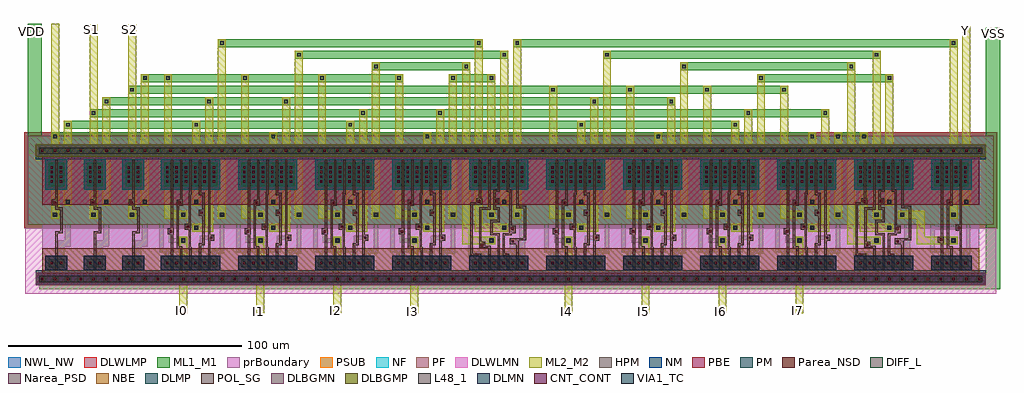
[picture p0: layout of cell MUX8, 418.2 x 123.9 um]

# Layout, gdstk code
import gdstk
lib = gdstk.Library(unit=1e-6, precision=1e-07)
def R(c, l, rs):  # rectangles x0, y0, x1, y1
    for r in rs: c.add(gdstk.rectangle(r[:2], r[2:], *l))
def A(c, l, x, y, w, h, nx, ny, dx, dy):  # array of equal rectangles
    R(c, l, [(x+i*dx, y+j*dy, x+i*dx+w, y+j*dy+h) for i in range(nx) for j in range(ny)])
def P(c, l, *ps):  # polygons
    for p in ps: c.add(gdstk.Polygon(p, *l))
DIFF_L = (3, 0)
NM = (7, 0)
POL_SG = (8, 0)
Narea_PSD = (9, 0)
CNT_CONT = (11, 0)
ML1_M1 = (13, 0)
VIA1_TC = (19, 0)
ML2_M2 = (20, 0)
NF = (25, 0)
PF = (26, 0)
Parea_NSD = (28, 0)
HPM = (33, 0)
PM = (35, 0)
NWL_NW = (36, 0)
L48_1 = (48, 1)
PSUB = (140, 0)
PBE = (146, 0)
NBE = (147, 0)
DLWLMP = (150, 0)
DLWLMN = (151, 0)
DLMP = (157, 0)
DLMN = (158, 0)
DLBGMP = (177, 0)
DLBGMN = (178, 0)
prBoundary = (235, 0)

inv_x1 = lib.new_cell('INV_X1')
A(inv_x1, DIFF_L, -1.3, -1.3, 2.6, 2.6, 4, 2, 5.5, 55)
R(inv_x1, DIFF_L, [(2.8,5.1,9.4,8.5), (2.8,39.7,9.4,49.9)])
R(inv_x1, NM, [(-2.8,-2.7,19.3,2.7)])
P(inv_x1, NM, [(1.4,38.3),(1.4,51.3),(-2.8,51.3),(-2.8,57.7),(19.3,57.7),(19.3,51.3),(10.8,51.3),(10.8,38.3)])
P(inv_x1, POL_SG, [(5.6,3.9),(5.6,20.5),(7.7,20.5),(7.7,29.7),(5.6,29.7),(5.6,31.6),(4,31.6),(4,34.2),(5.6,34.2),(5.6,51.1),(6.6,51.1),(6.6,30.7),(8.7,30.7),(8.7,19.5),(6.6,19.5),(6.6,3.9)])
R(inv_x1, Narea_PSD, [(1.4,3.7,10.8,9.9), (-2.8,52.3,19.3,57.7)])
A(inv_x1, CNT_CONT, -0.5, -0.5, 1, 1, 4, 2, 5.5, 55)
A(inv_x1, CNT_CONT, 3.6, 41.3, 1, 1, 1, 4, 0, 2)
A(inv_x1, CNT_CONT, 7.6, 41.3, 1, 1, 1, 4, 0, 2)
R(inv_x1, CNT_CONT, [(3.6,6.3,4.6,7.3), (7.6,6.3,8.6,7.3), (4.8,32.4,5.8,33.4)])
P(inv_x1, ML1_M1, [(-1.3,-1.3),(-1.3,1.3),(2.8,1.3),(2.8,8.5),(5.4,8.5),(5.4,1.3),(17.8,1.3),(17.8,-1.3)],
  [(3.8,25.8),(3.8,29.2),(4,29.2),(4,34.2),(6.6,34.2),(6.6,29.2),(7.2,29.2),(7.2,25.8)],
  [(6.8,5.1),(6.8,16.5),(9.7,16.5),(9.7,31.3),(9.3,31.3),(9.3,35.6),(6.8,35.6),(6.8,49.9),(9.4,49.9),(9.4,38.2),(12.3,38.2),(12.3,34.7),(12.7,34.7),(12.7,31.3),(12.3,31.3),(12.3,13.9),(9.4,13.9),(9.4,5.1)],
  [(2.8,39.7),(2.8,53.7),(-1.3,53.7),(-1.3,56.3),(17.8,56.3),(17.8,53.7),(5.4,53.7),(5.4,39.7)])
R(inv_x1, NF, [(-6.3,23.2,22.8,61.3)])
R(inv_x1, PF, [(-6.3,23.2,22.8,61.3)])
R(inv_x1, Parea_NSD, [(-2.8,-2.7,19.3,2.7), (1.4,38.3,10.8,51.3)])
P(inv_x1, HPM, [(-2.8,-2.7),(-2.8,3.7),(1.4,3.7),(1.4,9.9),(10.8,9.9),(10.8,3.7),(19.3,3.7),(19.3,-2.7)],
  [(1.4,38.3),(1.4,51.3),(-2.8,51.3),(-2.8,57.7),(19.3,57.7),(19.3,51.3),(10.8,51.3),(10.8,38.3)])
R(inv_x1, PM, [(-2.8,52.3,19.3,57.7)])
P(inv_x1, PM, [(-2.8,-2.7),(-2.8,3.7),(1.4,3.7),(1.4,9.9),(10.8,9.9),(10.8,3.7),(19.3,3.7),(19.3,-2.7)])
R(inv_x1, NWL_NW, [(-7.8,21.7,24.3,62.8)])
R(inv_x1, L48_1, [(-1.3,-1.3,17.8,1.3), (4.6,26.6,6.4,28.4), (10.1,32.1,11.9,33.9), (-1.3,53.7,17.8,56.3)])
R(inv_x1, PSUB, [(-6.3,23.2,22.8,61.3)])
R(inv_x1, PBE, [(0,31.9,16.5,52.7)])
R(inv_x1, NBE, [(0,2.3,16.5,13.1)])
R(inv_x1, DLWLMP, [(-7.8,21.7,24.3,62.8)])
R(inv_x1, DLWLMN, [(-7.2,-6.3,23.7,21.7)])
R(inv_x1, DLMP, [(1.4,38.3,10.8,51.3)])
R(inv_x1, DLMN, [(1.4,3.7,10.8,9.9)])
R(inv_x1, DLBGMP, [(-2.8,52.3,19.3,57.7)])
R(inv_x1, DLBGMN, [(-2.8,-2.7,19.3,2.7)])
R(inv_x1, prBoundary, [(0,0,16.5,55)])
inv_x1.add(gdstk.Label('A', (5.5,27.5), layer=48, texttype=0))
inv_x1.add(gdstk.Label('vdd', (0,55), layer=48, texttype=0))
inv_x1.add(gdstk.Label('gnd', (0,0), layer=48, texttype=0))
inv_x1.add(gdstk.Label('Y', (11,33), layer=48, texttype=0))

and4_x1 = lib.new_cell('AND4_X1')
A(and4_x1, DIFF_L, -1.3, -1.3, 2.6, 2.6, 7, 2, 5.5, 55)
R(and4_x1, DIFF_L, [(2.8,5.1,25.4,8.5), (2.8,39.7,25.4,49.9)])
R(and4_x1, NM, [(-2.8,-2.7,35.8,2.7)])
P(and4_x1, NM, [(1.4,38.3),(1.4,51.3),(-2.8,51.3),(-2.8,57.7),(35.8,57.7),(35.8,51.3),(26.8,51.3),(26.8,38.3)])
P(and4_x1, POL_SG, [(5.6,3.9),(5.6,19.1),(4.3,19.1),(4.3,21.7),(5.6,21.7),(5.6,51.1),(6.6,51.1),(6.6,21.7),(6.9,21.7),(6.9,19.1),(6.6,19.1),(6.6,3.9)],
  [(9.6,3.9),(9.6,13),(8.1,13),(8.1,33.9),(9.6,33.9),(9.6,51.1),(10.6,51.1),(10.6,33.9),(10.7,33.9),(10.7,31.3),(9.1,31.3),(9.1,14),(10.6,14),(10.6,3.9)],
  [(13.6,3.9),(13.6,12.5),(13.2,12.5),(13.2,21.1),(11.6,21.1),(11.6,23.7),(13.2,23.7),(13.2,37),(13.6,37),(13.6,51.1),(14.6,51.1),(14.6,36),(14.2,36),(14.2,13.5),(14.6,13.5),(14.6,3.9)],
  [(17.6,3.9),(17.6,15.4),(19.1,15.4),(19.1,27.1),(17.5,27.1),(17.5,29.7),(19.1,29.7),(19.1,35.9),(17.6,35.9),(17.6,51.1),(18.6,51.1),(18.6,36.9),(20.1,36.9),(20.1,14.4),(18.6,14.4),(18.6,3.9)],
  [(21.6,3.9),(21.6,51.1),(22.6,51.1),(22.6,19),(24.2,19),(24.2,16.4),(22.6,16.4),(22.6,3.9)])
R(and4_x1, Narea_PSD, [(1.4,3.7,26.8,9.9), (-2.8,52.3,35.8,57.7)])
A(and4_x1, CNT_CONT, -0.5, -0.5, 1, 1, 7, 2, 5.5, 55)
A(and4_x1, CNT_CONT, 3.6, 41.3, 1, 1, 1, 4, 0, 2)
A(and4_x1, CNT_CONT, 23.6, 41.3, 1, 1, 1, 4, 0, 2)
R(and4_x1, CNT_CONT, [(3.6,6.3,4.6,7.3), (7.6,6.3,8.6,7.3), (7.6,6.3,8.6,7.3), (11.6,6.3,12.6,7.3), (11.6,6.3,12.6,7.3), (15.6,6.3,16.6,7.3), (15.6,6.3,16.6,7.3), (19.6,6.3,20.6,7.3), (19.6,6.3,20.6,7.3), (23.6,6.3,24.6,7.3), (22.4,17.2,23.4,18.2), (5.1,19.9,6.1,20.9), (12.4,21.9,13.4,22.9), (18.3,27.9,19.3,28.9), (8.9,32.1,9.9,33.1), (7.6,41.3,8.6,42.3), (7.6,41.3,8.6,42.3), (11.6,41.3,12.6,42.3), (11.6,41.3,12.6,42.3), (15.6,41.3,16.6,42.3), (15.6,41.3,16.6,42.3), (19.6,41.3,20.6,42.3), (19.6,41.3,20.6,42.3), (7.6,43.3,8.6,44.3), (7.6,43.3,8.6,44.3), (11.6,43.3,12.6,44.3), (11.6,43.3,12.6,44.3), (15.6,43.3,16.6,44.3), (15.6,43.3,16.6,44.3), (19.6,43.3,20.6,44.3), (19.6,43.3,20.6,44.3), (7.6,45.3,8.6,46.3), (7.6,45.3,8.6,46.3), (11.6,45.3,12.6,46.3), (11.6,45.3,12.6,46.3), (15.6,45.3,16.6,46.3), (15.6,45.3,16.6,46.3), (19.6,45.3,20.6,46.3), (19.6,45.3,20.6,46.3), (7.6,47.3,8.6,48.3), (7.6,47.3,8.6,48.3), (11.6,47.3,12.6,48.3), (11.6,47.3,12.6,48.3), (15.6,47.3,16.6,48.3), (15.6,47.3,16.6,48.3), (19.6,47.3,20.6,48.3), (19.6,47.3,20.6,48.3)])
A(and4_x1, ML1_M1, 6.8, 5.1, 2.6, 3.4, 3, 1, 4, 0)
P(and4_x1, ML1_M1, [(-1.3,-1.3),(-1.3,1.3),(18.8,1.3),(18.8,8.5),(21.4,8.5),(21.4,1.3),(34.3,1.3),(34.3,-1.3)],
  [(9.3,14.8),(9.3,15.6),(4.8,15.6),(4.8,19.1),(4.3,19.1),(4.3,21.7),(6.9,21.7),(6.9,19.1),(6.6,19.1),(6.6,17.4),(9.3,17.4),(9.3,18.2),(12.7,18.2),(12.7,14.8)],
  [(14.8,20.3),(14.8,21.1),(11.6,21.1),(11.6,23.7),(18.2,23.7),(18.2,20.3)],
  [(9.3,25.8),(9.3,31.3),(8.1,31.3),(8.1,33.9),(11.1,33.9),(11.1,29.2),(12.7,29.2),(12.7,25.8)],
  [(16.4,27.1),(16.4,31.3),(14.8,31.3),(14.8,34.7),(18.2,34.7),(18.2,29.7),(20.1,29.7),(20.1,27.1)],
  [(2.8,5.1),(2.8,8.5),(3.2,8.5),(3.2,11.4),(0.7,11.4),(0.7,38),(7.2,38),(7.2,39.7),(6.8,39.7),(6.8,49.9),(9.4,49.9),(9.4,39.7),(9,39.7),(9,38),(15.2,38),(15.2,39.7),(14.8,39.7),(14.8,49.9),(17.4,49.9),(17.4,39.7),(17,39.7),(17,36.2),(2.5,36.2),(2.5,13.2),(17.9,13.2),(17.9,18.6),(21.6,18.6),(21.6,19),(24.2,19),(24.2,16.4),(21.6,16.4),(21.6,16.8),(19.7,16.8),(19.7,11.4),(5,11.4),(5,8.5),(5.4,8.5),(5.4,5.1)],
  [(22.8,5.1),(22.8,8.5),(23.2,8.5),(23.2,12.6),(26.6,12.6),(26.6,25.8),(25.8,25.8),(25.8,29.2),(26.6,29.2),(26.6,36.2),(23.2,36.2),(23.2,39.7),(22.8,39.7),(22.8,49.9),(25.4,49.9),(25.4,39.7),(25,39.7),(25,38),(28.4,38),(28.4,29.2),(29.2,29.2),(29.2,25.8),(28.4,25.8),(28.4,10.8),(25,10.8),(25,8.5),(25.4,8.5),(25.4,5.1)],
  [(2.8,39.7),(2.8,53.7),(-1.3,53.7),(-1.3,56.3),(34.3,56.3),(34.3,53.7),(21.4,53.7),(21.4,39.7),(18.8,39.7),(18.8,53.7),(13.4,53.7),(13.4,39.7),(10.8,39.7),(10.8,53.7),(5.4,53.7),(5.4,39.7)])
R(and4_x1, NF, [(-6.3,23.2,39.3,61.3)])
R(and4_x1, PF, [(-6.3,23.2,39.3,61.3)])
R(and4_x1, Parea_NSD, [(-2.8,-2.7,35.8,2.7), (1.4,38.3,26.8,51.3)])
P(and4_x1, HPM, [(-2.8,-2.7),(-2.8,3.7),(1.4,3.7),(1.4,9.9),(26.8,9.9),(26.8,3.7),(35.8,3.7),(35.8,-2.7)],
  [(1.4,38.3),(1.4,51.3),(-2.8,51.3),(-2.8,57.7),(35.8,57.7),(35.8,51.3),(26.8,51.3),(26.8,38.3)])
R(and4_x1, PM, [(-2.8,52.3,35.8,57.7)])
P(and4_x1, PM, [(-2.8,-2.7),(-2.8,3.7),(1.4,3.7),(1.4,9.9),(26.8,9.9),(26.8,3.7),(35.8,3.7),(35.8,-2.7)])
R(and4_x1, NWL_NW, [(-7.8,21.7,40.8,62.8)])
R(and4_x1, L48_1, [(-1.3,-1.3,34.3,1.3), (10.1,15.6,11.9,17.4), (15.6,21.1,17.4,22.9), (10.1,26.6,11.9,28.4), (26.6,26.6,28.4,28.4), (15.6,32.1,17.4,33.9), (-1.3,53.7,34.3,56.3)])
R(and4_x1, PSUB, [(-6.3,23.2,39.3,61.3)])
R(and4_x1, PBE, [(0,31.9,33,52.7)])
R(and4_x1, NBE, [(0,2.3,33,13.1)])
R(and4_x1, DLWLMP, [(-7.8,21.7,40.8,62.8)])
R(and4_x1, DLWLMN, [(-7.2,-6.3,40.2,21.7)])
R(and4_x1, DLMP, [(1.4,38.3,26.8,51.3)])
R(and4_x1, DLMN, [(1.4,3.7,26.8,9.9)])
R(and4_x1, DLBGMP, [(-2.8,52.3,35.8,57.7)])
R(and4_x1, DLBGMN, [(-2.8,-2.7,35.8,2.7)])
R(and4_x1, prBoundary, [(0,0,33,55)])
and4_x1.add(gdstk.Label('vdd', (0,55), layer=48, texttype=0))
and4_x1.add(gdstk.Label('gnd', (0,0), layer=48, texttype=0))
and4_x1.add(gdstk.Label('Y', (27.5,27.5), layer=48, texttype=0))
and4_x1.add(gdstk.Label('A', (11,16.5), layer=48, texttype=0))
and4_x1.add(gdstk.Label('B', (11,27.5), layer=48, texttype=0))
and4_x1.add(gdstk.Label('C', (16.5,22), layer=48, texttype=0))
and4_x1.add(gdstk.Label('D', (16.5,33), layer=48, texttype=0))

or4 = lib.new_cell('OR4')
A(or4, DIFF_L, -1.3, -1.3, 2.6, 2.6, 7, 2, 5.5, 55)
R(or4, DIFF_L, [(2.8,5.1,25.4,8.5), (2.8,39.7,25.4,49.9)])
R(or4, NM, [(-2.8,-2.7,35.8,2.7)])
P(or4, NM, [(1.4,38.3),(1.4,51.3),(-2.8,51.3),(-2.8,57.7),(35.8,57.7),(35.8,51.3),(26.8,51.3),(26.8,38.3)])
P(or4, POL_SG, [(5.6,3.9),(5.6,9.9),(2,9.9),(2,32.9),(4.4,32.9),(4.4,34.5),(5.6,34.5),(5.6,51.1),(6.6,51.1),(6.6,34.5),(7,34.5),(7,31.9),(3,31.9),(3,10.9),(6.6,10.9),(6.6,3.9)],
  [(9.6,3.9),(9.6,13.3),(5.7,13.3),(5.7,30.7),(9.6,30.7),(9.6,51.1),(10.6,51.1),(10.6,29.7),(6.7,29.7),(6.7,15.9),(8.3,15.9),(8.3,14.3),(10.6,14.3),(10.6,3.9)],
  [(13.6,3.9),(13.6,18.7),(10.5,18.7),(10.5,25.3),(13.6,25.3),(13.6,29.7),(11.8,29.7),(11.8,38.3),(13.6,38.3),(13.6,51.1),(14.6,51.1),(14.6,37.3),(12.8,37.3),(12.8,34.7),(14.4,34.7),(14.4,32.1),(12.8,32.1),(12.8,30.7),(14.6,30.7),(14.6,24.3),(11.5,24.3),(11.5,19.7),(14.6,19.7),(14.6,3.9)],
  [(17.6,3.9),(17.6,9.9),(15.8,9.9),(15.8,19.7),(18.7,19.7),(18.7,37.3),(17.6,37.3),(17.6,51.1),(18.6,51.1),(18.6,38.3),(19.7,38.3),(19.7,22.9),(21.3,22.9),(21.3,20.3),(19.7,20.3),(19.7,18.7),(16.8,18.7),(16.8,10.9),(18.6,10.9),(18.6,3.9)],
  [(21.6,3.9),(21.6,14.9),(18.8,14.9),(18.8,17.5),(24.9,17.5),(24.9,30.4),(21.6,30.4),(21.6,51.1),(22.6,51.1),(22.6,31.4),(25.9,31.4),(25.9,16.5),(22.6,16.5),(22.6,3.9)])
R(or4, Narea_PSD, [(1.4,3.7,26.8,9.9), (-2.8,52.3,35.8,57.7)])
A(or4, CNT_CONT, -0.5, -0.5, 1, 1, 7, 2, 5.5, 55)
A(or4, CNT_CONT, 3.6, 41.3, 1, 1, 1, 4, 0, 2)
A(or4, CNT_CONT, 23.6, 41.3, 1, 1, 1, 4, 0, 2)
R(or4, CNT_CONT, [(3.6,6.3,4.6,7.3), (7.6,6.3,8.6,7.3), (7.6,6.3,8.6,7.3), (11.6,6.3,12.6,7.3), (11.6,6.3,12.6,7.3), (15.6,6.3,16.6,7.3), (15.6,6.3,16.6,7.3), (19.6,6.3,20.6,7.3), (19.6,6.3,20.6,7.3), (23.6,6.3,24.6,7.3), (6.5,14.1,7.5,15.1), (19.6,15.7,20.6,16.7), (19.5,21.1,20.5,22.1), (5.2,32.7,6.2,33.7), (12.6,32.9,13.6,33.9), (7.6,41.3,8.6,42.3), (7.6,41.3,8.6,42.3), (11.6,41.3,12.6,42.3), (11.6,41.3,12.6,42.3), (15.6,41.3,16.6,42.3), (15.6,41.3,16.6,42.3), (19.6,41.3,20.6,42.3), (19.6,41.3,20.6,42.3), (7.6,43.3,8.6,44.3), (7.6,43.3,8.6,44.3), (11.6,43.3,12.6,44.3), (11.6,43.3,12.6,44.3), (15.6,43.3,16.6,44.3), (15.6,43.3,16.6,44.3), (19.6,43.3,20.6,44.3), (19.6,43.3,20.6,44.3), (7.6,45.3,8.6,46.3), (7.6,45.3,8.6,46.3), (11.6,45.3,12.6,46.3), (11.6,45.3,12.6,46.3), (15.6,45.3,16.6,46.3), (15.6,45.3,16.6,46.3), (19.6,45.3,20.6,46.3), (19.6,45.3,20.6,46.3), (7.6,47.3,8.6,48.3), (7.6,47.3,8.6,48.3), (11.6,47.3,12.6,48.3), (11.6,47.3,12.6,48.3), (15.6,47.3,16.6,48.3), (15.6,47.3,16.6,48.3), (19.6,47.3,20.6,48.3), (19.6,47.3,20.6,48.3)])
A(or4, ML1_M1, 6.8, 39.7, 2.6, 10.2, 3, 1, 4, 0)
R(or4, ML1_M1, [(14.8,20.3,21.3,23.7), (11.8,31.3,18.2,34.7)])
P(or4, ML1_M1, [(-1.3,-1.3),(-1.3,1.3),(2.8,1.3),(2.8,8.5),(5.4,8.5),(5.4,1.3),(10.8,1.3),(10.8,8.5),(13.4,8.5),(13.4,1.3),(18.8,1.3),(18.8,8.5),(21.4,8.5),(21.4,1.3),(34.3,1.3),(34.3,-1.3)],
  [(5.7,13.3),(5.7,18.2),(12.7,18.2),(12.7,14.8),(8.3,14.8),(8.3,13.3)],
  [(9.3,25.8),(9.3,27.2),(5,27.2),(5,31.9),(4.4,31.9),(4.4,34.5),(7,34.5),(7,29.2),(12.7,29.2),(12.7,25.8)],
  [(6.8,5.1),(6.8,9.9),(1,9.9),(1,38.1),(2.8,38.1),(2.8,49.9),(5.4,49.9),(5.4,36.1),(3,36.1),(3,11.9),(18.8,11.9),(18.8,17.5),(21.4,17.5),(21.4,9.9),(17.4,9.9),(17.4,5.1),(14.8,5.1),(14.8,9.9),(9.4,9.9),(9.4,5.1)],
  [(22.8,5.1),(22.8,25.8),(20.3,25.8),(20.3,29.2),(22.8,29.2),(22.8,49.9),(25.4,49.9),(25.4,5.1)],
  [(18.8,39.7),(18.8,53.7),(-1.3,53.7),(-1.3,56.3),(34.3,56.3),(34.3,53.7),(21.4,53.7),(21.4,39.7)])
R(or4, NF, [(-6.3,23.2,39.3,61.3)])
R(or4, PF, [(-6.3,23.2,39.3,61.3)])
R(or4, Parea_NSD, [(-2.8,-2.7,35.8,2.7), (1.4,38.3,26.8,51.3)])
P(or4, HPM, [(-2.8,-2.7),(-2.8,3.7),(1.4,3.7),(1.4,9.9),(26.8,9.9),(26.8,3.7),(35.8,3.7),(35.8,-2.7)],
  [(1.4,38.3),(1.4,51.3),(-2.8,51.3),(-2.8,57.7),(35.8,57.7),(35.8,51.3),(26.8,51.3),(26.8,38.3)])
R(or4, PM, [(-2.8,52.3,35.8,57.7)])
P(or4, PM, [(-2.8,-2.7),(-2.8,3.7),(1.4,3.7),(1.4,9.9),(26.8,9.9),(26.8,3.7),(35.8,3.7),(35.8,-2.7)])
R(or4, NWL_NW, [(-7.8,21.7,40.8,62.8)])
R(or4, L48_1, [(-1.3,-1.3,34.3,1.3), (10.1,15.6,11.9,17.4), (15.6,21.1,17.4,22.9), (10.1,26.6,11.9,28.4), (21.1,26.6,22.9,28.4), (15.6,32.1,17.4,33.9), (-1.3,53.7,34.3,56.3)])
R(or4, PSUB, [(-6.3,23.2,39.3,61.3)])
R(or4, PBE, [(0,31.9,33,52.7)])
R(or4, NBE, [(0,2.3,33,13.1)])
R(or4, DLWLMP, [(-7.8,21.7,40.8,62.8)])
R(or4, DLWLMN, [(-7.2,-6.3,40.2,21.7)])
R(or4, DLMP, [(1.4,38.3,26.8,51.3)])
R(or4, DLMN, [(1.4,3.7,26.8,9.9)])
R(or4, DLBGMP, [(-2.8,52.3,35.8,57.7)])
R(or4, DLBGMN, [(-2.8,-2.7,35.8,2.7)])
R(or4, prBoundary, [(0,0,33,55)])
or4.add(gdstk.Label('A', (16.5,22), layer=48, texttype=0))
or4.add(gdstk.Label('B', (16.5,33), layer=48, texttype=0))
or4.add(gdstk.Label('C', (11,16.5), layer=48, texttype=0))
or4.add(gdstk.Label('D', (11,27.5), layer=48, texttype=0))
or4.add(gdstk.Label('Y', (22,27.5), layer=48, texttype=0))
or4.add(gdstk.Label('vdd', (0,55), layer=48, texttype=0))
or4.add(gdstk.Label('gnd', (0,0), layer=48, texttype=0))

or2 = lib.new_cell('OR2')
A(or2, DIFF_L, -1.3, -1.3, 2.6, 2.6, 5, 2, 5.5, 55)
R(or2, DIFF_L, [(2.8,5.1,17.4,8.5), (2.8,39.7,17.4,49.9)])
R(or2, NM, [(-2.8,-2.7,24.8,2.7)])
P(or2, NM, [(1.4,38.3),(1.4,51.3),(-2.8,51.3),(-2.8,57.7),(24.8,57.7),(24.8,51.3),(18.8,51.3),(18.8,38.3)])
P(or2, POL_SG, [(5.6,3.9),(5.6,15.6),(4.3,15.6),(4.3,18.2),(5.6,18.2),(5.6,51.1),(6.6,51.1),(6.6,18.2),(6.9,18.2),(6.9,15.6),(6.6,15.6),(6.6,3.9)],
  [(9.6,3.9),(9.6,13),(8.1,13),(8.1,33.9),(9.6,33.9),(9.6,51.1),(10.6,51.1),(10.6,33.9),(10.7,33.9),(10.7,31.3),(9.1,31.3),(9.1,14),(10.6,14),(10.6,3.9)],
  [(13.6,3.9),(13.6,20.6),(12,20.6),(12,23.2),(13.6,23.2),(13.6,51.1),(14.6,51.1),(14.6,3.9)])
R(or2, Narea_PSD, [(1.4,3.7,18.8,9.9), (-2.8,52.3,24.8,57.7)])
A(or2, CNT_CONT, -0.5, -0.5, 1, 1, 5, 2, 5.5, 55)
A(or2, CNT_CONT, 3.6, 41.3, 1, 1, 1, 4, 0, 2)
A(or2, CNT_CONT, 15.6, 41.3, 1, 1, 1, 4, 0, 2)
R(or2, CNT_CONT, [(3.6,6.3,4.6,7.3), (7.6,6.3,8.6,7.3), (7.6,6.3,8.6,7.3), (11.6,6.3,12.6,7.3), (11.6,6.3,12.6,7.3), (15.6,6.3,16.6,7.3), (5.1,16.4,6.1,17.4), (12.8,21.4,13.8,22.4), (8.9,32.1,9.9,33.1), (7.6,41.3,8.6,42.3), (7.6,41.3,8.6,42.3), (11.6,41.3,12.6,42.3), (11.6,41.3,12.6,42.3), (7.6,43.3,8.6,44.3), (7.6,43.3,8.6,44.3), (11.6,43.3,12.6,44.3), (11.6,43.3,12.6,44.3), (7.6,45.3,8.6,46.3), (7.6,45.3,8.6,46.3), (11.6,45.3,12.6,46.3), (11.6,45.3,12.6,46.3), (7.6,47.3,8.6,48.3), (7.6,47.3,8.6,48.3), (11.6,47.3,12.6,48.3), (11.6,47.3,12.6,48.3)])
R(or2, ML1_M1, [(6.8,39.7,9.4,49.9)])
P(or2, ML1_M1, [(-1.3,-1.3),(-1.3,1.3),(2.8,1.3),(2.8,8.5),(5.4,8.5),(5.4,1.3),(10.8,1.3),(10.8,8.5),(13.4,8.5),(13.4,1.3),(23.3,1.3),(23.3,-1.3)],
  [(9.3,14.8),(9.3,15.6),(4.3,15.6),(4.3,18.2),(6.9,18.2),(6.9,17.4),(9.3,17.4),(9.3,18.2),(12.7,18.2),(12.7,14.8)],
  [(9.3,25.8),(9.3,31.3),(8.1,31.3),(8.1,33.9),(11.1,33.9),(11.1,29.2),(12.7,29.2),(12.7,25.8)],
  [(6.8,5.1),(6.8,8.5),(7.2,8.5),(7.2,11.4),(1.1,11.4),(1.1,38),(3.2,38),(3.2,39.7),(2.8,39.7),(2.8,49.9),(5.4,49.9),(5.4,39.7),(5,39.7),(5,36.2),(2.9,36.2),(2.9,22.8),(12,22.8),(12,23.2),(14.6,23.2),(14.6,20.6),(12,20.6),(12,21),(2.9,21),(2.9,13.2),(9,13.2),(9,8.5),(9.4,8.5),(9.4,5.1)],
  [(14.8,5.1),(14.8,8.5),(15.2,8.5),(15.2,12.6),(16.4,12.6),(16.4,31.3),(14.8,31.3),(14.8,34.7),(16.4,34.7),(16.4,36.2),(15.2,36.2),(15.2,39.7),(14.8,39.7),(14.8,49.9),(17.4,49.9),(17.4,39.7),(17,39.7),(17,38),(18.2,38),(18.2,10.8),(17,10.8),(17,8.5),(17.4,8.5),(17.4,5.1)],
  [(10.8,39.7),(10.8,53.7),(-1.3,53.7),(-1.3,56.3),(23.3,56.3),(23.3,53.7),(13.4,53.7),(13.4,39.7)])
R(or2, NF, [(-6.3,23.2,28.3,61.3)])
R(or2, PF, [(-6.3,23.2,28.3,61.3)])
R(or2, Parea_NSD, [(-2.8,-2.7,24.8,2.7), (1.4,38.3,18.8,51.3)])
P(or2, HPM, [(-2.8,-2.7),(-2.8,3.7),(1.4,3.7),(1.4,9.9),(18.8,9.9),(18.8,3.7),(24.8,3.7),(24.8,-2.7)],
  [(1.4,38.3),(1.4,51.3),(-2.8,51.3),(-2.8,57.7),(24.8,57.7),(24.8,51.3),(18.8,51.3),(18.8,38.3)])
R(or2, PM, [(-2.8,52.3,24.8,57.7)])
P(or2, PM, [(-2.8,-2.7),(-2.8,3.7),(1.4,3.7),(1.4,9.9),(18.8,9.9),(18.8,3.7),(24.8,3.7),(24.8,-2.7)])
R(or2, NWL_NW, [(-7.8,21.7,29.8,62.8)])
R(or2, L48_1, [(-1.3,-1.3,23.3,1.3), (10.1,15.6,11.9,17.4), (10.1,26.6,11.9,28.4), (15.6,32.1,17.4,33.9), (-1.3,53.7,23.3,56.3)])
R(or2, PSUB, [(-6.3,23.2,28.3,61.3)])
R(or2, PBE, [(0,31.9,22,52.7)])
R(or2, NBE, [(0,2.3,22,13.1)])
R(or2, DLWLMP, [(-7.8,21.7,29.8,62.8)])
R(or2, DLWLMN, [(-7.2,-6.3,29.2,21.7)])
R(or2, DLMP, [(1.4,38.3,18.8,51.3)])
R(or2, DLMN, [(1.4,3.7,18.8,9.9)])
R(or2, DLBGMP, [(-2.8,52.3,24.8,57.7)])
R(or2, DLBGMN, [(-2.8,-2.7,24.8,2.7)])
R(or2, prBoundary, [(0,0,22,55)])
or2.add(gdstk.Label('Y', (16.5,33), layer=48, texttype=0))
or2.add(gdstk.Label('A', (11,16.5), layer=48, texttype=0))
or2.add(gdstk.Label('B', (11,27.5), layer=48, texttype=0))
or2.add(gdstk.Label('vdd', (0,55), layer=48, texttype=0))
or2.add(gdstk.Label('gnd', (0,0), layer=48, texttype=0))

via = lib.new_cell('Via')
R(via, ML1_M1, [(-1.7,-1.7,1.7,1.7)])
R(via, VIA1_TC, [(-0.7,-0.7,0.7,0.7)])
R(via, ML2_M2, [(-1.7,-1.7,1.7,1.7)])

mux8 = lib.new_cell('MUX8')
R(mux8, POL_SG, [(201.2,19.7,202.8,20.3), (366.2,19.7,367.8,20.3)])
R(mux8, ML1_M1, [(-1.3,-4.4,408.7,1.3), (-6.3,53.7,402.8,57.7)])
mux8.add(gdstk.FlexPath([(-3.3,53.7),(-3.3,109.3)], 6, ends="flush", simple_path=True, layer=13, datatype=0))  # ML1_M1
mux8.add(gdstk.FlexPath([(407.4,107.7),(407.4,-4.4)], 6, ends="flush", simple_path=True, layer=13, datatype=0))  # ML1_M1
mux8.add(gdstk.FlexPath([(3.8,61.1),(331.7,61.1)], 3.4, ends="flush", simple_path=True, layer=13, datatype=0))  # ML1_M1
mux8.add(gdstk.FlexPath([(9.3,66.1),(298.7,66.1)], 3.4, ends="flush", simple_path=True, layer=13, datatype=0))  # ML1_M1
mux8.add(gdstk.FlexPath([(20.3,71.1),(337.2,71.1)], 3.4, ends="flush", simple_path=True, layer=13, datatype=0))  # ML1_M1
mux8.add(gdstk.FlexPath([(25.8,76.1),(271.2,76.1)], 3.4, ends="flush", simple_path=True, layer=13, datatype=0))  # ML1_M1
mux8.add(gdstk.FlexPath([(36.8,81.1),(319.6,81.1)], 3.4, ends="flush", simple_path=True, layer=13, datatype=0))  # ML1_M1
mux8.add(gdstk.FlexPath([(42.3,86.1),(154.6,86.1)], 3.4, ends="flush", simple_path=True, layer=13, datatype=0))  # ML1_M1
mux8.add(gdstk.FlexPath([(174.3,86.1),(194.2,86.1)], 3.4, ends="flush", simple_path=True, layer=13, datatype=0))  # ML1_M1
mux8.add(gdstk.FlexPath([(306.3,86.1),(364.7,86.1)], 3.4, ends="flush", simple_path=True, layer=13, datatype=0))  # ML1_M1
mux8.add(gdstk.FlexPath([(111.7,96.1),(108.3,96.1)], 3.4, ends="flush", simple_path=True, layer=13, datatype=0))  # ML1_M1
mux8.add(gdstk.FlexPath([(141.3,91.1),(183.4,91.1)], 3.4, ends="flush", simple_path=True, layer=13, datatype=0))  # ML1_M1
mux8.add(gdstk.FlexPath([(108.3,96.1),(199.7,96.1)], 3.4, ends="flush", simple_path=True, layer=13, datatype=0))  # ML1_M1
mux8.add(gdstk.FlexPath([(75.3,101.1),(188.8,101.1)], 3.4, ends="flush", simple_path=True, layer=13, datatype=0))  # ML1_M1
mux8.add(gdstk.FlexPath([(273.3,91.1),(348.4,91.1)], 3.4, ends="flush", simple_path=True, layer=13, datatype=0))  # ML1_M1
mux8.add(gdstk.FlexPath([(240.3,96.1),(359.2,96.1)], 3.4, ends="flush", simple_path=True, layer=13, datatype=0))  # ML1_M1
mux8.add(gdstk.FlexPath([(201.8,101.1),(392.2,101.1)], 3.4, ends="flush", simple_path=True, layer=13, datatype=0))  # ML1_M1
mux8.add(gdstk.FlexPath([(339.3,61.1),(353.8,61.1)], 3.4, ends="flush", simple_path=True, layer=13, datatype=0))  # ML1_M1
mux8.add(gdstk.FlexPath([(5.5,25.8),(5.5,109.3)], 3.4, ends="flush", simple_path=True, layer=20, datatype=0))  # ML2_M2
mux8.add(gdstk.FlexPath([(11,31.3),(11,67.8)], 3.4, ends="flush", simple_path=True, layer=20, datatype=0))  # ML2_M2
mux8.add(gdstk.FlexPath([(22,25.8),(22,109.2)], 3.4, ends="flush", simple_path=True, layer=20, datatype=0))  # ML2_M2
mux8.add(gdstk.FlexPath([(27.5,31.3),(27.5,77.8)], 3.4, ends="flush", simple_path=True, layer=20, datatype=0))  # ML2_M2
mux8.add(gdstk.FlexPath([(38.5,25.8),(38.5,109.2)], 3.4, ends="flush", simple_path=True, layer=20, datatype=0))  # ML2_M2
mux8.add(gdstk.FlexPath([(44,31.3),(44,87.8)], 3.4, ends="flush", simple_path=True, layer=20, datatype=0))  # ML2_M2
mux8.add(gdstk.FlexPath([(60.5,18.2),(60.5,-14.6)], 3.4, ends="flush", simple_path=True, layer=20, datatype=0))  # ML2_M2
mux8.add(gdstk.FlexPath([(93.5,18.2),(93.5,-14.6)], 3.4, ends="flush", simple_path=True, layer=20, datatype=0))  # ML2_M2
mux8.add(gdstk.FlexPath([(126.5,18.2),(126.5,-14.6)], 3.4, ends="flush", simple_path=True, layer=20, datatype=0))  # ML2_M2
mux8.add(gdstk.FlexPath([(159.5,18.2),(159.5,-14.6)], 3.4, ends="flush", simple_path=True, layer=20, datatype=0))  # ML2_M2
mux8.add(gdstk.FlexPath([(225.5,18.2),(225.5,-14.6)], 3.4, ends="flush", simple_path=True, layer=20, datatype=0))  # ML2_M2
mux8.add(gdstk.FlexPath([(258.5,18.2),(258.5,-14.6)], 3.4, ends="flush", simple_path=True, layer=20, datatype=0))  # ML2_M2
mux8.add(gdstk.FlexPath([(291.5,18.2),(291.5,-14.6)], 3.4, ends="flush", simple_path=True, layer=20, datatype=0))  # ML2_M2
mux8.add(gdstk.FlexPath([(324.5,18.2),(324.5,-14.6)], 3.4, ends="flush", simple_path=True, layer=20, datatype=0))  # ML2_M2
mux8.add(gdstk.FlexPath([(396,31.3),(396,108.3)], 3.4, ends="flush", simple_path=True, layer=20, datatype=0))  # ML2_M2
mux8.add(gdstk.FlexPath([(366.8,27.5),(376.5,27.5),(376.5,16.5),(392.2,16.5)], 3.4, ends="flush", simple_path=True, layer=20, datatype=0))  # ML2_M2
mux8.add(gdstk.FlexPath([(62.2,27.5),(53.9,27.5),(53.9,87.8)], 3.4, ends="flush", simple_path=True, layer=20, datatype=0))  # ML2_M2
mux8.add(gdstk.FlexPath([(95.2,27.5),(86.9,27.5),(86.9,87.8)], 3.4, ends="flush", simple_path=True, layer=20, datatype=0))  # ML2_M2
mux8.add(gdstk.FlexPath([(128.2,27.5),(119.9,27.5),(119.9,87.8)], 3.4, ends="flush", simple_path=True, layer=20, datatype=0))  # ML2_M2
mux8.add(gdstk.FlexPath([(161.2,27.5),(152.9,27.5),(152.9,87.8)], 3.4, ends="flush", simple_path=True, layer=20, datatype=0))  # ML2_M2
mux8.add(gdstk.FlexPath([(227.2,27.5),(218.9,27.5),(218.9,82.8)], 3.4, ends="flush", simple_path=True, layer=20, datatype=0))  # ML2_M2
mux8.add(gdstk.FlexPath([(260.2,27.5),(251.9,27.5),(251.9,82.8)], 3.4, ends="flush", simple_path=True, layer=20, datatype=0))  # ML2_M2
mux8.add(gdstk.FlexPath([(293.2,27.5),(284.9,27.5),(284.9,82.8)], 3.4, ends="flush", simple_path=True, layer=20, datatype=0))  # ML2_M2
mux8.add(gdstk.FlexPath([(326.2,27.5),(317.9,27.5),(317.9,82.8)], 3.4, ends="flush", simple_path=True, layer=20, datatype=0))  # ML2_M2
mux8.add(gdstk.FlexPath([(64.3,22),(71.5,22),(71.5,77.8)], 3.4, ends="flush", simple_path=True, layer=20, datatype=0))  # ML2_M2
mux8.add(gdstk.FlexPath([(97.3,22),(104.5,22),(104.5,77.8)], 3.4, ends="flush", simple_path=True, layer=20, datatype=0))  # ML2_M2
mux8.add(gdstk.FlexPath([(130.3,22),(137.5,22),(137.5,72.8)], 3.4, ends="flush", simple_path=True, layer=20, datatype=0))  # ML2_M2
mux8.add(gdstk.FlexPath([(163.3,22),(170.5,22),(170.5,72.8)], 3.4, ends="flush", simple_path=True, layer=20, datatype=0))  # ML2_M2
mux8.add(gdstk.FlexPath([(229.3,22),(236.5,22),(236.5,77.8)], 3.4, ends="flush", simple_path=True, layer=20, datatype=0))  # ML2_M2
mux8.add(gdstk.FlexPath([(262.3,22),(269.5,22),(269.5,77.8)], 3.4, ends="flush", simple_path=True, layer=20, datatype=0))  # ML2_M2
mux8.add(gdstk.FlexPath([(295.3,22),(302.5,22),(302.5,72.8)], 3.4, ends="flush", simple_path=True, layer=20, datatype=0))  # ML2_M2
mux8.add(gdstk.FlexPath([(328.3,22),(335.5,22),(335.5,72.8)], 3.4, ends="flush", simple_path=True, layer=20, datatype=0))  # ML2_M2
mux8.add(gdstk.FlexPath([(66,31.3),(66,67.8)], 3.4, ends="flush", simple_path=True, layer=20, datatype=0))  # ML2_M2
mux8.add(gdstk.FlexPath([(99,31.3),(99,62.8)], 3.4, ends="flush", simple_path=True, layer=20, datatype=0))  # ML2_M2
mux8.add(gdstk.FlexPath([(132,31.3),(132,67.8)], 3.4, ends="flush", simple_path=True, layer=20, datatype=0))  # ML2_M2
mux8.add(gdstk.FlexPath([(165,31.3),(165,62.8)], 3.4, ends="flush", simple_path=True, layer=20, datatype=0))  # ML2_M2
mux8.add(gdstk.FlexPath([(231,31.3),(231,67.8)], 3.4, ends="flush", simple_path=True, layer=20, datatype=0))  # ML2_M2
mux8.add(gdstk.FlexPath([(264,31.3),(264,62.8)], 3.4, ends="flush", simple_path=True, layer=20, datatype=0))  # ML2_M2
mux8.add(gdstk.FlexPath([(297,31.3),(297,67.8)], 3.4, ends="flush", simple_path=True, layer=20, datatype=0))  # ML2_M2
mux8.add(gdstk.FlexPath([(330,31.3),(330,62.8)], 3.4, ends="flush", simple_path=True, layer=20, datatype=0))  # ML2_M2
mux8.add(gdstk.FlexPath([(359.2,16.5),(346.7,16.5),(346.7,92.8)], 3.4, ends="flush", simple_path=True, layer=20, datatype=0))  # ML2_M2
mux8.add(gdstk.FlexPath([(176,25.8),(176,87.8)], 3.4, ends="flush", simple_path=True, layer=20, datatype=0))  # ML2_M2
mux8.add(gdstk.FlexPath([(192.5,25.8),(192.5,87.8)], 3.4, ends="flush", simple_path=True, layer=20, datatype=0))  # ML2_M2
mux8.add(gdstk.FlexPath([(198,31.3),(198,97.8)], 3.4, ends="flush", simple_path=True, layer=20, datatype=0))  # ML2_M2
mux8.add(gdstk.FlexPath([(199.7,22),(187.1,22),(187.1,102.8)], 3.4, ends="flush", simple_path=True, layer=20, datatype=0))  # ML2_M2
mux8.add(gdstk.FlexPath([(194.2,16.5),(181.7,16.5),(181.7,92.8)], 3.4, ends="flush", simple_path=True, layer=20, datatype=0))  # ML2_M2
mux8.add(gdstk.FlexPath([(203.5,25.8),(203.5,102.8)], 3.4, ends="flush", simple_path=True, layer=20, datatype=0))  # ML2_M2
mux8.add(gdstk.FlexPath([(364.7,22),(352.1,22),(352.1,62.8)], 3.4, ends="flush", simple_path=True, layer=20, datatype=0))  # ML2_M2
mux8.add(gdstk.FlexPath([(110,25.8),(110,97.8)], 3.4, ends="flush", simple_path=True, layer=20, datatype=0))  # ML2_M2
mux8.add(gdstk.FlexPath([(77,25.8),(77,102.8)], 3.4, ends="flush", simple_path=True, layer=20, datatype=0))  # ML2_M2
mux8.add(gdstk.FlexPath([(143,92.8),(143,25.8)], 3.4, ends="flush", simple_path=True, layer=20, datatype=0))  # ML2_M2
mux8.add(gdstk.FlexPath([(341,25.8),(341,62.8)], 3.4, ends="flush", simple_path=True, layer=20, datatype=0))  # ML2_M2
mux8.add(gdstk.FlexPath([(357.5,25.8),(357.5,97.8)], 3.4, ends="flush", simple_path=True, layer=20, datatype=0))  # ML2_M2
mux8.add(gdstk.FlexPath([(363,31.3),(363,87.8)], 3.4, ends="flush", simple_path=True, layer=20, datatype=0))  # ML2_M2
mux8.add(gdstk.FlexPath([(308,25.8),(308,87.8)], 3.4, ends="flush", simple_path=True, layer=20, datatype=0))  # ML2_M2
mux8.add(gdstk.FlexPath([(275,25.8),(275,92.8)], 3.4, ends="flush", simple_path=True, layer=20, datatype=0))  # ML2_M2
mux8.add(gdstk.FlexPath([(242,25.8),(242,97.8)], 3.4, ends="flush", simple_path=True, layer=20, datatype=0))  # ML2_M2
mux8.add(gdstk.FlexPath([(390.5,25.8),(390.5,102.8)], 3.4, ends="flush", simple_path=True, layer=20, datatype=0))  # ML2_M2
mux8.add(gdstk.Reference(inv_x1, (0,0)))
mux8.add(gdstk.Reference(inv_x1, (16.5,0)))
mux8.add(gdstk.Reference(inv_x1, (33,0)))
mux8.add(gdstk.Reference(and4_x1, (49.5,0)))
mux8.add(gdstk.Reference(and4_x1, (82.5,0)))
mux8.add(gdstk.Reference(and4_x1, (115.5,0)))
mux8.add(gdstk.Reference(and4_x1, (148.5,0)))
mux8.add(gdstk.Reference(or4, (181.5,0)))
mux8.add(gdstk.Reference(and4_x1, (214.5,0)))
mux8.add(gdstk.Reference(and4_x1, (247.5,0)))
mux8.add(gdstk.Reference(and4_x1, (280.5,0)))
mux8.add(gdstk.Reference(and4_x1, (313.5,0)))
mux8.add(gdstk.Reference(or4, (346.5,0)))
mux8.add(gdstk.Reference(or2, (379.5,0)))
mux8.add(gdstk.Reference(via, (218.9,81.1)))
mux8.add(gdstk.Reference(via, (251.9,81.1)))
mux8.add(gdstk.Reference(via, (284.9,81.1)))
mux8.add(gdstk.Reference(via, (317.9,81.1)))
mux8.add(gdstk.Reference(via, (236.5,76.1)))
mux8.add(gdstk.Reference(via, (269.5,76.1)))
mux8.add(gdstk.Reference(via, (302.5,71.1)))
mux8.add(gdstk.Reference(via, (335.5,71.1)))
mux8.add(gdstk.Reference(via, (231,66.1)))
mux8.add(gdstk.Reference(via, (264,61.1)))
mux8.add(gdstk.Reference(via, (297,66.1)))
mux8.add(gdstk.Reference(via, (330,61.1)))
mux8.add(gdstk.Reference(via, (341,61.1)))
mux8.add(gdstk.Reference(via, (352.1,61.1)))
mux8.add(gdstk.Reference(via, (390.5,101.1)))
mux8.add(gdstk.Reference(via, (363,86.1)))
mux8.add(gdstk.Reference(via, (308,86.1)))
mux8.add(gdstk.Reference(via, (275,91.1)))
mux8.add(gdstk.Reference(via, (242,96.1)))
mux8.add(gdstk.Reference(via, (203.5,101.1)))
mux8.add(gdstk.Reference(via, (346.7,91.1)))
mux8.add(gdstk.Reference(via, (357.5,96.1)))
mux8.add(gdstk.Reference(via, (66,66.1)))
mux8.add(gdstk.Reference(via, (99,61.1)))
mux8.add(gdstk.Reference(via, (132,66.1)))
mux8.add(gdstk.Reference(via, (165,61.1)))
mux8.add(gdstk.Reference(via, (119.9,86.1)))
mux8.add(gdstk.Reference(via, (152.9,86.1)))
mux8.add(gdstk.Reference(via, (5.5,61.1)))
mux8.add(gdstk.Reference(via, (11,66.1)))
mux8.add(gdstk.Reference(via, (176,86.1)))
mux8.add(gdstk.Reference(via, (192.5,86.1)))
mux8.add(gdstk.Reference(via, (143,91.1)))
mux8.add(gdstk.Reference(via, (181.7,91.1)))
mux8.add(gdstk.Reference(via, (110,96.1)))
mux8.add(gdstk.Reference(via, (77,101.1)))
mux8.add(gdstk.Reference(via, (198,96.1)))
mux8.add(gdstk.Reference(via, (187.1,101.1)))
mux8.add(gdstk.Reference(via, (22,71.1)))
mux8.add(gdstk.Reference(via, (27.5,76.1)))
mux8.add(gdstk.Reference(via, (71.5,76.1)))
mux8.add(gdstk.Reference(via, (104.5,76.1)))
mux8.add(gdstk.Reference(via, (137.5,71.1)))
mux8.add(gdstk.Reference(via, (170.5,71.1)))
mux8.add(gdstk.Reference(via, (38.5,81.1)))
mux8.add(gdstk.Reference(via, (44,86.1)))
mux8.add(gdstk.Reference(via, (53.9,86.1)))
mux8.add(gdstk.Reference(via, (86.9,86.1)))
mux8.add(gdstk.Reference(via, (143,27.5)))
mux8.add(gdstk.Reference(via, (159.5,16.5)))
mux8.add(gdstk.Reference(via, (165,22)))
mux8.add(gdstk.Reference(via, (99,33)))
mux8.add(gdstk.Reference(via, (159.5,27.5)))
mux8.add(gdstk.Reference(via, (165,33)))
mux8.add(gdstk.Reference(via, (176,27.5)))
mux8.add(gdstk.Reference(via, (192.5,16.5)))
mux8.add(gdstk.Reference(via, (192.5,27.5)))
mux8.add(gdstk.Reference(via, (198,33)))
mux8.add(gdstk.Reference(via, (198,22)))
mux8.add(gdstk.Reference(via, (5.5,27.5)))
mux8.add(gdstk.Reference(via, (11,33)))
mux8.add(gdstk.Reference(via, (22,27.5)))
mux8.add(gdstk.Reference(via, (27.5,33)))
mux8.add(gdstk.Reference(via, (38.5,27.5)))
mux8.add(gdstk.Reference(via, (44,33)))
mux8.add(gdstk.Reference(via, (60.5,16.5)))
mux8.add(gdstk.Reference(via, (66,22)))
mux8.add(gdstk.Reference(via, (60.5,27.5)))
mux8.add(gdstk.Reference(via, (66,33)))
mux8.add(gdstk.Reference(via, (77,27.5)))
mux8.add(gdstk.Reference(via, (93.5,16.5)))
mux8.add(gdstk.Reference(via, (99,22)))
mux8.add(gdstk.Reference(via, (93.5,27.5)))
mux8.add(gdstk.Reference(via, (110,27.5)))
mux8.add(gdstk.Reference(via, (126.5,16.5)))
mux8.add(gdstk.Reference(via, (132,22)))
mux8.add(gdstk.Reference(via, (126.5,27.5)))
mux8.add(gdstk.Reference(via, (132,33)))
mux8.add(gdstk.Reference(via, (341,27.5)))
mux8.add(gdstk.Reference(via, (357.5,27.5)))
mux8.add(gdstk.Reference(via, (357.5,16.5)))
mux8.add(gdstk.Reference(via, (363,22)))
mux8.add(gdstk.Reference(via, (363,33)))
mux8.add(gdstk.Reference(via, (368.5,27.5)))
mux8.add(gdstk.Reference(via, (390.5,16.5)))
mux8.add(gdstk.Reference(via, (390.5,27.5)))
mux8.add(gdstk.Reference(via, (396,33)))
mux8.add(gdstk.Reference(via, (203.5,27.5)))
mux8.add(gdstk.Reference(via, (225.5,16.5)))
mux8.add(gdstk.Reference(via, (231,22)))
mux8.add(gdstk.Reference(via, (225.5,27.5)))
mux8.add(gdstk.Reference(via, (231,33)))
mux8.add(gdstk.Reference(via, (242,27.5)))
mux8.add(gdstk.Reference(via, (258.5,16.5)))
mux8.add(gdstk.Reference(via, (264,22)))
mux8.add(gdstk.Reference(via, (258.5,27.5)))
mux8.add(gdstk.Reference(via, (264,33)))
mux8.add(gdstk.Reference(via, (275,27.5)))
mux8.add(gdstk.Reference(via, (291.5,16.5)))
mux8.add(gdstk.Reference(via, (297,22)))
mux8.add(gdstk.Reference(via, (291.5,27.5)))
mux8.add(gdstk.Reference(via, (297,33)))
mux8.add(gdstk.Reference(via, (308,27.5)))
mux8.add(gdstk.Reference(via, (324.5,16.5)))
mux8.add(gdstk.Reference(via, (330,22)))
mux8.add(gdstk.Reference(via, (324.5,27.5)))
mux8.add(gdstk.Reference(via, (330,33)))
mux8.add(gdstk.Label('VDD', (-4.6,106.2), layer=13, texttype=0))
mux8.add(gdstk.Label('VSS', (407.5,105.4), layer=13, texttype=0))
mux8.add(gdstk.Label('S0', (4.4,106.1), layer=20, texttype=0))
mux8.add(gdstk.Label('S1', (21.1,107), layer=20, texttype=0))
mux8.add(gdstk.Label('S2', (37.4,107.1), layer=20, texttype=0))
mux8.add(gdstk.Label('I0', (59.7,-13.4), layer=20, texttype=0))
mux8.add(gdstk.Label('I1', (92.7,-13.8), layer=20, texttype=0))
mux8.add(gdstk.Label('I2', (125.6,-13.7), layer=20, texttype=0))
mux8.add(gdstk.Label('I3', (158.6,-13.9), layer=20, texttype=0))
mux8.add(gdstk.Label('I4', (224.6,-13.8), layer=20, texttype=0))
mux8.add(gdstk.Label('I5', (257.7,-13.9), layer=20, texttype=0))
mux8.add(gdstk.Label('I6', (290.7,-14), layer=20, texttype=0))
mux8.add(gdstk.Label('I7', (323.7,-13.6), layer=20, texttype=0))
mux8.add(gdstk.Label('Y', (395.5,106.3), layer=20, texttype=0))

lib.write_gds('MUX8.gds')
